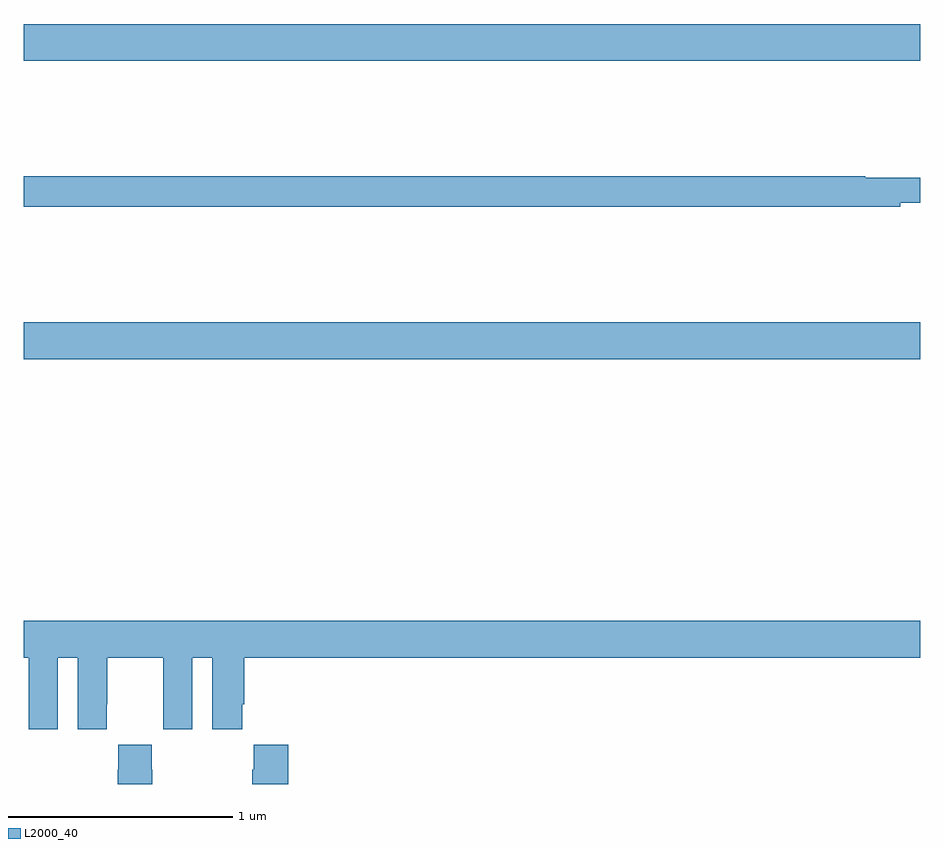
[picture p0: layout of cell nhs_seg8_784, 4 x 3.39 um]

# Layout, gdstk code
import gdstk
lib = gdstk.Library(unit=1e-6, precision=1e-09)
def R(c, l, rs):  # rectangles x0, y0, x1, y1
    for r in rs: c.add(gdstk.rectangle(r[:2], r[2:], *l))
def P(c, l, *ps):  # polygons
    for p in ps: c.add(gdstk.Polygon(p, *l))
L2000_40 = (2000, 40)

nhs_seg8_784 = lib.new_cell('nhs_seg8_784')
R(nhs_seg8_784, L2000_40, [(161,1153.796,165,1153.96), (161,1155.128,165,1155.292)])
P(nhs_seg8_784, L2000_40, [(164.912,1154.495),(165,1154.495),(165,1154.605),(164.755,1154.605),(164.755,1154.612),(161,1154.612),(161,1154.476),(164.912,1154.476)],
  [(161,1152.464),(161.021,1152.464),(161.021,1152.256),(161.022,1152.256),(161.022,1152.144),(161.152,1152.144),(161.152,1152.464),(161.24,1152.464),(161.24,1152.144),(161.37,1152.144),(161.37,1152.256),(161.371,1152.256),(161.371,1152.464),(161.621,1152.464),(161.621,1152.256),(161.622,1152.256),(161.622,1152.144),(161.752,1152.144),(161.752,1152.464),(161.84,1152.464),(161.84,1152.144),(161.974,1152.144),(161.974,1152.256),(161.984,1152.256),(161.984,1152.464),(165,1152.464),(165,1152.628),(161,1152.628)],
  [(161.574,1151.963),(161.571,1151.963),(161.571,1152.076),(161.421,1152.076),(161.421,1151.963),(161.419,1151.963),(161.419,1151.9),(161.574,1151.9)],
  [(162.179,1152.076),(162.025,1152.076),(162.025,1151.963),(162.019,1151.963),(162.019,1151.9),(162.179,1151.9)])

lib.write_gds('nhs_seg8_784.gds')
